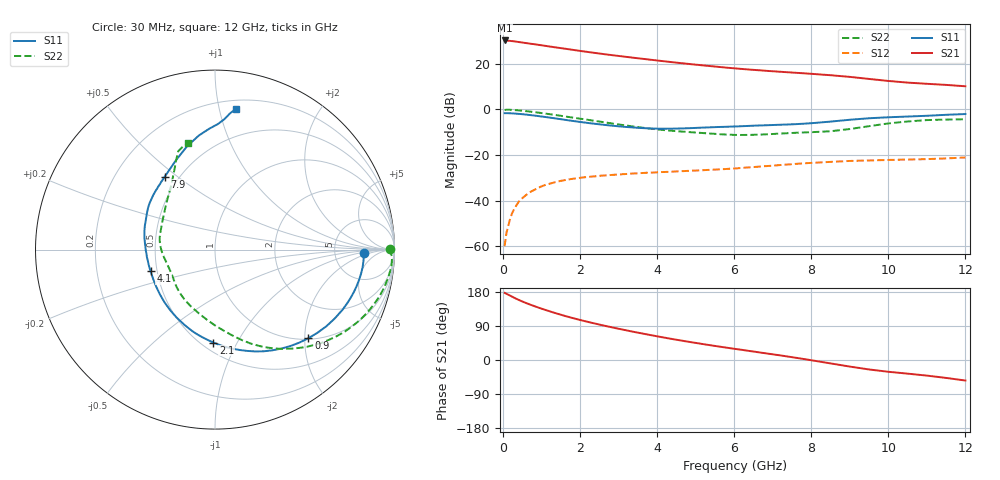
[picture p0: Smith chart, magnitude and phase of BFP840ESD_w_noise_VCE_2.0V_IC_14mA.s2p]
! Infineon Technologies  Discrete & RF Semiconductors
! BFP840ESD
! VCE =  2.0 V,  IC =  14 mA
! Common Emitter S-Parameters:  May 2012
# GHz  S  MA  R  50
!  f  S11  S21  S12  S22
! GHz  MAG  ANG  MAG  ANG  MAG  ANG  MAG  ANG
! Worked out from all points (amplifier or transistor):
!   93 points, 30 MHz to 12 GHz, reference 50 ohm
!   highest |S21| = 30.3 dB at 30 MHz (marker M1)
!   |S21| within 3 dB of that: start of sweep to 1.339 GHz
!   unconditionally stable (mu >= 1): 5.233 GHz to 8.683 GHz
!   at 1.1 GHz: K = 0.34, MSG = 30.5 dB, |S12| = -33.0 dB
!   at 4.2 GHz: K = 0.89, MSG = 24.3 dB, |S12| = -27.4 dB
!   at 12 GHz: K = 0.72, MSG = 15.6 dB, |S12| = -21.1 dB
!   lowest NFmin = 0.96 dB at 450 MHz
!   S11 on the Smith chart (normalised r, x): 30 MHz: 11, -1; 900 MHz: 1.02, -2.08; 2.1 GHz: 0.57, -0.81; 4.1 GHz: 0.46, -0.13; 7.9 GHz: 0.42, +0.45; 12 GHz: 0.26, +1.13
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0.03  0.8293 -1.3  32.71 177.1  0.001 112.4  0.975 0.2
0.13  0.8283 -6.8  32.29 172.1  0.0029 79.6  0.9874 -4.8
0.23  0.8203 -11.9  31.6 166.8  0.0054 78.6  0.9775 -9.1
0.33  0.809 -17.0  30.82 161.7  0.0077 77.7  0.9645 -13.0
0.43  0.7958 -21.8  29.96 157.1  0.0103 75.3  0.9478 -16.8
0.6  0.7697 -29.9  28.56 149.8  0.0135 70.3  0.9161 -22.8
0.9  0.7174 -43.5  26.3 138.6  0.019 63.2  0.8541 -32.5
1.2  0.6633 -56.3  24.09 128.5  0.0235 56.3  0.7888 -41.2
1.5  0.6101 -68.4  22.15 119.2  0.0272 50.8  0.724 -49.1
1.8  0.5605 -80.0  20.35 110.7  0.0301 46.2  0.6639 -56.4
2.1  0.5179 -91.0  18.74 102.9  0.0325 42.1  0.6092 -63.1
2.5  0.4719 -105.4  16.87 93.3  0.035 38.4  0.5421 -71.3
3  0.4265 -123.0  14.91 82.3  0.0374 34.8  0.4687 -81.4
3.5  0.396 -140.6  13.29 72.0  0.0398 32.0  0.4098 -92.6
4.1  0.3788 -161.4  11.6 60.5  0.0423 29.2  0.3574 -107.3
4.9  0.3909 175.6  9.813 46.6  0.0454 26.5  0.3156 -126.4
6.1  0.4262 153.5  7.865 28.1  0.0514 25.0  0.2765 -153.1
7.9  0.4937 124.7  6.145 1.0  0.0666 16.5  0.3154 167.5
8.5  0.5422 113.8  5.644 -9.0  0.0708 12.1  0.3331 151.6
9.5  0.6417 98.1  4.675 -25.0  0.076 4.2  0.4304 124.7
10.5  0.6995 88.7  3.887 -36.0  0.0795 -2.1  0.5454 113.3
12  0.794 81.5  3.231 -54.2  0.0883 -9.3  0.6098 104.1
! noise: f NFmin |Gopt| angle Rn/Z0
0.45  0.96  0.19  1  0.13
0.9  0.97  0.19  4  0.13
1.5  0.97  0.2  8  0.12
1.9  0.98  0.17  12  0.12
2.4  0.99  0.14  19  0.12
3.5  1  0.05  63  0.1
5.5  1.03  0.07  -165  0.1
8  1.14  0.29  -116  0.12
10  1.26  0.49  -83  0.22
12  1.48  0.62  -68  0.31
